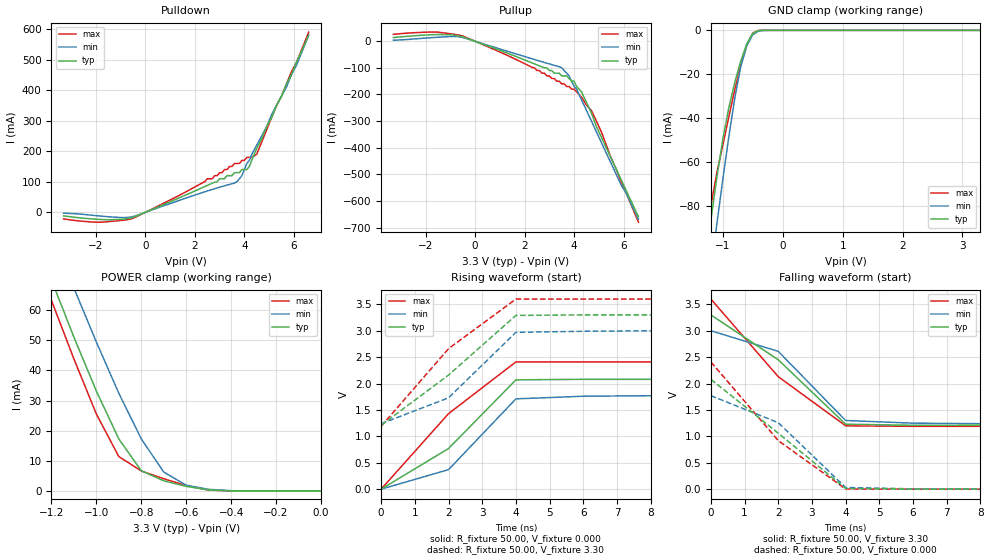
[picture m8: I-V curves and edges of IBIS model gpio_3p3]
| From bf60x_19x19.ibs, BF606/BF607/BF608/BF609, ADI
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[Model]   gpio_3p3
Model_type   I/O
Polarity   Non-Inverting
Enable   Active-High
Vinl =   0.70V
Vinh =   2.30V
Cref =  10.00pF
C_comp   5.00pF   5.00pF   5.00pF
[Temperature Range]   25.00   125.00   -40.00
[Voltage Range]   3.30V   3.00V   3.60V
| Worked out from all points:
|   slope of the pulldown table from 0 to 0.495 V, typ, clamps not added: 29.2 ohm
|   slope of the pullup table from 0 to 0.495 V, typ, clamps not added: 29.4 ohm
|   GND clamp passes 1 mA (typ) near -0.47 V on its own axis
|   POWER clamp passes 1 mA (typ) near -0.56 V on its own axis
|   rising waveform, R_fixture 50.00, V_fixture 0.000: 20-80 % time 2.29ns typ, 1.65ns min, 2.34ns max; typ from 0 V to 2.08 V
|   rising waveform, R_fixture 50.00, V_fixture 3.30: 20-80 % time 2.4ns typ, 2.04ns min, 2.32ns max; typ from 1.21 V to 3.3 V
|   falling waveform, R_fixture 50.00, V_fixture 3.30: 20-80 % time 2.36ns typ, 1.75ns min, 2.33ns max; typ from 3.3 V to 1.21 V
|   falling waveform, R_fixture 50.00, V_fixture 0.000: 20-80 % time 2.41ns typ, 2.09ns min, 2.31ns max; typ from 2.08 V to 0 V
[Pulldown]
| voltage   I(typ)   I(min)   I(max)
-3.3V     -11.6mA    -2.9mA     -21.5mA
-1.9V     -23mA      -11.5mA    -32.3mA
-500mV    -16.73mA   -13.87mA   -19.49mA
2.5V      87.95mA    69.67mA    110mA
2.7V      95.17mA    74.79mA    110mA
3.7V      130mA      100mA      160mA
3.9V      140mA      120mA      170mA
4.1V      140mA      160mA      180mA
4.2V      150mA      170mA      180mA
4.5V      210mA      220mA      190mA
5.7V      420mA      410mA      420mA
6.6V      580mA      580mA      590mA
[Pullup]
| voltage   I(typ)   I(min)   I(max)
-3.3V     14mA       3.9mA      26mA
-1.5V     25.4mA     15.2mA     34.3mA
-500mV    16.8mA     14.14mA    19.69mA
2.4V      -84.84mA   -68.61mA   -100mA
3.5V      -130mA     -99.59mA   -160mA
3.8V      -140mA     -130mA     -170mA
4V        -150mA     -170mA     -180mA
4.1V      -170mA     -180mA     -190mA
4.3V      -190mA     -220mA     -210mA
4.7V      -270mA     -300mA     -260mA
4.9V      -320mA     -340mA     -300mA
6.6V      -660mA     -670mA     -680mA
[GND_clamp]
| voltage   I(typ)   I(min)   I(max)
-3.3V     -570mA     -580mA     -580mA
-1.3V     -110mA     -130mA     -98.7mA
-1.2V     -86.27mA   -110mA     -79.84mA
-1.1V     -66.87mA   -87.99mA   -64.67mA
-1V       -49.44mA   -67.65mA   -52.08mA
-900mV    -35.1mA    -48.29mA   -39.24mA
-800mV    -23.56mA   -30.68mA   -26.95mA
-700mV    -13.85mA   -16.34mA   -15.87mA
-600mV    -6.09mA    -6.96mA    -6.74mA
-500mV    -1.32mA    -1.99mA    -1.19mA
-300mV    -2.7uA     -19.68uA   -1.13uA
3.3V      210nA      6.61uA     140nA
[POWER_clamp]
| voltage   I(typ)   I(min)   I(max)
-3.3V     530mA      510mA      550mA
-1.3V     90mA       100mA      83.18mA
-1.2V     70.15mA    85.83mA    63.28mA
-1.1V     51.07mA    67.38mA    43.86mA
-1V       33.18mA    49.46mA    25.56mA
-900mV    17.28mA    32.46mA    11.41mA
-800mV    6.7mA      17.28mA    6.64mA
-700mV    3.37mA     6.28mA     4.05mA
-600mV    1.53mA     1.89mA     1.78mA
-500mV    330uA      530uA      280uA
-400mV    18.45uA    76.37uA    6.22uA
0V        210nA      200nA      230nA
[Ramp]
| variable   typ   min   max
dV/dt_r   1.92/1.24n   1.74/1.34n   2.11/1.35n
dV/dt_f   1.92/1.271n   1.74/1.36n   2.11/1.37n
R_load = 1.00k
[Rising Waveform]
R_fixture = 50.00
V_fixture = 0.000
| time   V(typ)   V(min)   V(max)
0s        2.99uV     3.75uV     2.66uV
2ns       770mV      370mV      1.43V
4ns       2.07V      1.71V      2.41V
6ns       2.08V      1.76V      2.41V
8ns       2.08V      1.77V      2.41V
100ns     2.08V      1.77V      2.41V
[Rising Waveform]
R_fixture = 50.00
V_fixture = 3.30
V_fixture_min = 3.00
V_fixture_max = 3.60
| time   V(typ)   V(min)   V(max)
0s        1.21V      1.24V      1.19V
2ns       2.16V      1.73V      2.66V
4ns       3.29V      2.97V      3.6V
8ns       3.3V       3V         3.6V
100ns     3.3V       3V         3.6V
[Falling Waveform]
R_fixture = 50.00
V_fixture = 3.30
V_fixture_min = 3.00
V_fixture_max = 3.60
| time   V(typ)   V(min)   V(max)
0s        3.3V       3V         3.6V
2ns       2.45V      2.61V      2.13V
4ns       1.23V      1.3V       1.2V
6ns       1.21V      1.25V      1.19V
8ns       1.21V      1.24V      1.19V
100ns     1.21V      1.24V      1.19V
[Falling Waveform]
R_fixture = 50.00
V_fixture = 0.000
| time   V(typ)   V(min)   V(max)
0s        2.08V      1.77V      2.41V
2ns       1.06V      1.26V      920mV
4ns       12.28mV    31.32mV    3.61mV
6ns       1.32mV     6.36mV     160uV
10ns      14.79uV    250uV      110nV
100ns     0V         0V         0V
